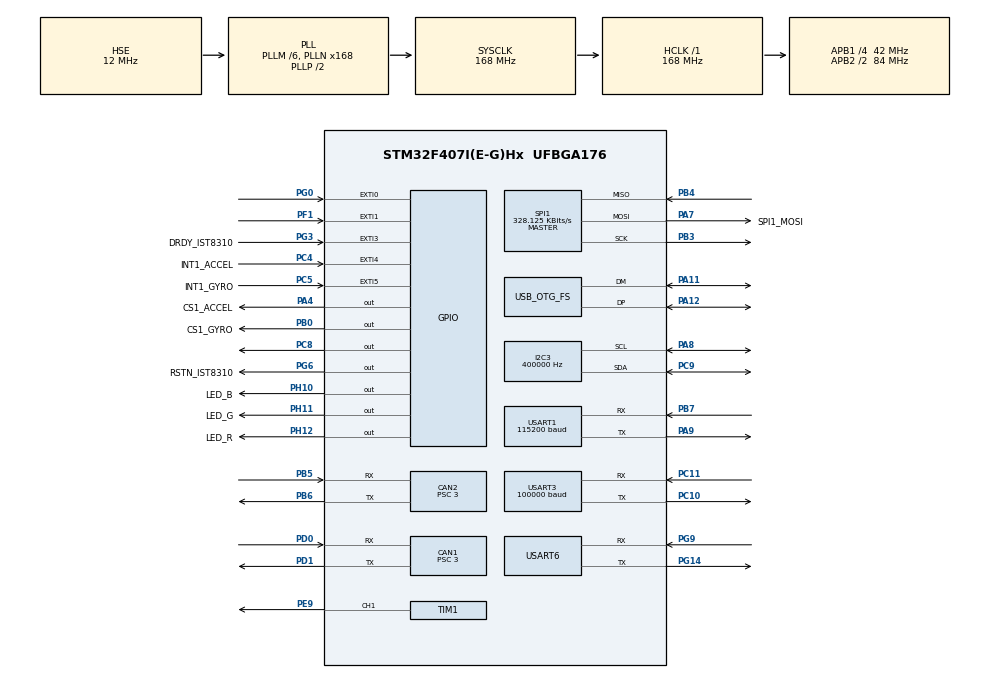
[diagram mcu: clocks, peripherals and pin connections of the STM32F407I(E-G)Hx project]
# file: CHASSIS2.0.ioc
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CAN1.ABOM=DISABLE
CAN1.AWUM=DISABLE
CAN1.BS1=CAN_BS1_10TQ
CAN1.BS2=CAN_BS2_3TQ
CAN1.CalculateBaudRate=1000000
CAN1.CalculateTimeBit=1000
CAN1.CalculateTimeQuantum=71.42857142857143
CAN1.Mode=CAN_MODE_NORMAL
CAN1.NART=DISABLE
CAN1.Prescaler=3
CAN1.RFLM=DISABLE
CAN1.SJW=CAN_SJW_1TQ
CAN1.TTCM=DISABLE
CAN1.TXFP=DISABLE
CAN2.ABOM=DISABLE
CAN2.AWUM=DISABLE
CAN2.BS1=CAN_BS1_10TQ
CAN2.BS2=CAN_BS2_3TQ
CAN2.CalculateBaudRate=1000000
CAN2.CalculateTimeBit=1000
CAN2.CalculateTimeQuantum=71.42857142857143
CAN2.Mode=CAN_MODE_NORMAL
CAN2.NART=DISABLE
CAN2.Prescaler=3
CAN2.RFLM=DISABLE
CAN2.SJW=CAN_SJW_1TQ
CAN2.TTCM=DISABLE
CAN2.TXFP=DISABLE
Dma.Request0=USART3_RX
Dma.Request1=SPI1_RX
Dma.Request2=SPI1_TX
Dma.Request3=USART1_RX
Dma.Request4=USART1_TX
Dma.Request5=USART6_RX
Dma.Request6=USART6_TX
Dma.SPI1_RX.1.Direction=DMA_PERIPH_TO_MEMORY
Dma.SPI1_RX.1.FIFOMode=DMA_FIFOMODE_DISABLE
Dma.SPI1_RX.1.Instance=DMA2_Stream2
Dma.SPI1_RX.1.MemDataAlignment=DMA_MDATAALIGN_BYTE
Dma.SPI1_RX.1.MemInc=DMA_MINC_ENABLE
Dma.SPI1_RX.1.Mode=DMA_NORMAL
Dma.SPI1_RX.1.PeriphDataAlignment=DMA_PDATAALIGN_BYTE
Dma.SPI1_RX.1.PeriphInc=DMA_PINC_DISABLE
Dma.SPI1_RX.1.Priority=DMA_PRIORITY_VERY_HIGH
Dma.SPI1_TX.2.Direction=DMA_MEMORY_TO_PERIPH
Dma.SPI1_TX.2.FIFOMode=DMA_FIFOMODE_DISABLE
Dma.SPI1_TX.2.Instance=DMA2_Stream3
Dma.SPI1_TX.2.MemDataAlignment=DMA_MDATAALIGN_BYTE
Dma.SPI1_TX.2.MemInc=DMA_MINC_ENABLE
Dma.SPI1_TX.2.Mode=DMA_NORMAL
Dma.SPI1_TX.2.PeriphDataAlignment=DMA_PDATAALIGN_BYTE
Dma.SPI1_TX.2.PeriphInc=DMA_PINC_DISABLE
Dma.SPI1_TX.2.Priority=DMA_PRIORITY_HIGH
Dma.USART1_RX.3.Direction=DMA_PERIPH_TO_MEMORY
Dma.USART1_RX.3.FIFOMode=DMA_FIFOMODE_DISABLE
Dma.USART1_RX.3.Instance=DMA2_Stream5
Dma.USART1_RX.3.MemDataAlignment=DMA_MDATAALIGN_BYTE
Dma.USART1_RX.3.MemInc=DMA_MINC_ENABLE
Dma.USART1_RX.3.Mode=DMA_NORMAL
Dma.USART1_RX.3.PeriphDataAlignment=DMA_PDATAALIGN_BYTE
Dma.USART1_RX.3.PeriphInc=DMA_PINC_DISABLE
Dma.USART1_RX.3.Priority=DMA_PRIORITY_LOW
Dma.USART1_TX.4.Direction=DMA_MEMORY_TO_PERIPH
Dma.USART1_TX.4.FIFOMode=DMA_FIFOMODE_DISABLE
Dma.USART1_TX.4.Instance=DMA2_Stream7
Dma.USART1_TX.4.MemDataAlignment=DMA_MDATAALIGN_BYTE
Dma.USART1_TX.4.MemInc=DMA_MINC_ENABLE
Dma.USART1_TX.4.Mode=DMA_CIRCULAR
Dma.USART1_TX.4.PeriphDataAlignment=DMA_PDATAALIGN_BYTE
Dma.USART1_TX.4.PeriphInc=DMA_PINC_DISABLE
Dma.USART1_TX.4.Priority=DMA_PRIORITY_LOW
Dma.USART3_RX.0.Direction=DMA_PERIPH_TO_MEMORY
Dma.USART3_RX.0.FIFOMode=DMA_FIFOMODE_DISABLE
Dma.USART3_RX.0.Instance=DMA1_Stream1
Dma.USART3_RX.0.MemDataAlignment=DMA_MDATAALIGN_BYTE
Dma.USART3_RX.0.MemInc=DMA_MINC_ENABLE
Dma.USART3_RX.0.Mode=DMA_CIRCULAR
Dma.USART3_RX.0.PeriphDataAlignment=DMA_PDATAALIGN_BYTE
Dma.USART3_RX.0.PeriphInc=DMA_PINC_DISABLE
Dma.USART3_RX.0.Priority=DMA_PRIORITY_VERY_HIGH
Dma.USART6_RX.5.Direction=DMA_PERIPH_TO_MEMORY
Dma.USART6_RX.5.FIFOMode=DMA_FIFOMODE_DISABLE
Dma.USART6_RX.5.Instance=DMA2_Stream1
Dma.USART6_RX.5.MemDataAlignment=DMA_MDATAALIGN_BYTE
Dma.USART6_RX.5.MemInc=DMA_MINC_ENABLE
Dma.USART6_RX.5.Mode=DMA_NORMAL
Dma.USART6_RX.5.PeriphDataAlignment=DMA_PDATAALIGN_BYTE
Dma.USART6_RX.5.PeriphInc=DMA_PINC_DISABLE
Dma.USART6_RX.5.Priority=DMA_PRIORITY_HIGH
Dma.USART6_TX.6.Direction=DMA_MEMORY_TO_PERIPH
Dma.USART6_TX.6.FIFOMode=DMA_FIFOMODE_DISABLE
Dma.USART6_TX.6.Instance=DMA2_Stream6
Dma.USART6_TX.6.MemDataAlignment=DMA_MDATAALIGN_BYTE
Dma.USART6_TX.6.MemInc=DMA_MINC_ENABLE
Dma.USART6_TX.6.Mode=DMA_NORMAL
Dma.USART6_TX.6.PeriphDataAlignment=DMA_PDATAALIGN_BYTE
Dma.USART6_TX.6.PeriphInc=DMA_PINC_DISABLE
Dma.USART6_TX.6.Priority=DMA_PRIORITY_MEDIUM
FREERTOS.HEAP_NUMBER=4
FREERTOS.INCLUDE_eTaskGetState=0
FREERTOS.INCLUDE_pcTaskGetTaskName=0
FREERTOS.INCLUDE_uxTaskGetStackHighWaterMark=0
FREERTOS.INCLUDE_uxTaskGetStackHighWaterMark2=0
FREERTOS.INCLUDE_uxTaskPriorityGet=1
FREERTOS.INCLUDE_vTaskCleanUpResources=0
FREERTOS.INCLUDE_vTaskDelay=1
FREERTOS.INCLUDE_vTaskDelayUntil=1
FREERTOS.INCLUDE_vTaskDelete=1
FREERTOS.INCLUDE_vTaskPrioritySet=1
FREERTOS.INCLUDE_vTaskSuspend=1
FREERTOS.INCLUDE_xEventGroupSetBitFromISR=0
FREERTOS.INCLUDE_xQueueGetMutexHolder=0
FREERTOS.INCLUDE_xSemaphoreGetMutexHolder=0
FREERTOS.INCLUDE_xTaskAbortDelay=0
FREERTOS.INCLUDE_xTaskGetCurrentTaskHandle=0
FREERTOS.INCLUDE_xTaskGetHandle=1
FREERTOS.INCLUDE_xTaskResumeFromISR=1
FREERTOS.MEMORY_ALLOCATION=2
FREERTOS.Tasks01=defaultTask,0,128,StartDefaultTask,Default,NULL,Dynamic,NULL,NULL;task_01,-3,128,Gimbal_task,As weak,NULL,Dynamic,NULL,NULL;myTask03,-3,128,Chassis_task,As weak,NULL,Dynamic,NULL,NULL;myTask04,-3,128,Shoot_task,As weak,NULL,Dynamic,NULL,NULL;myTask05,-3,128,UI_task,As weak,NULL,Dynamic,NULL,NULL
FREERTOS.configCHECK_FOR_STACK_OVERFLOW=0
FREERTOS.configENABLE_BACKWARD_COMPATIBILITY=1
FREERTOS.configENABLE_FPU=0
FREERTOS.configGENERATE_RUN_TIME_STATS=0
FREERTOS.configIDLE_SHOULD_YIELD=1
FREERTOS.configLIBRARY_LOWEST_INTERRUPT_PRIORITY=15
FREERTOS.configLIBRARY_MAX_SYSCALL_INTERRUPT_PRIORITY=5
FREERTOS.configMAX_CO_ROUTINE_PRIORITIES=2
FREERTOS.configMAX_PRIORITIES=7
FREERTOS.configMAX_TASK_NAME_LEN=16
FREERTOS.configMINIMAL_STACK_SIZE=128
FREERTOS.configQUEUE_REGISTRY_SIZE=8
FREERTOS.configRECORD_STACK_HIGH_ADDRESS=0
FREERTOS.configTICK_RATE_HZ=1000
FREERTOS.configTOTAL_HEAP_SIZE=15360
FREERTOS.configUSE_APPLICATION_TASK_TAG=0
FREERTOS.configUSE_COUNTING_SEMAPHORES=0
FREERTOS.configUSE_CO_ROUTINES=0
FREERTOS.configUSE_DAEMON_TASK_STARTUP_HOOK=0
FREERTOS.configUSE_IDLE_HOOK=0
FREERTOS.configUSE_MALLOC_FAILED_HOOK=0
FREERTOS.configUSE_MUTEXES=1
FREERTOS.configUSE_NEWLIB_REENTRANT=0
FREERTOS.configUSE_POSIX_ERRNO=0
FREERTOS.configUSE_PREEMPTION=1
FREERTOS.configUSE_RECURSIVE_MUTEXES=0
FREERTOS.configUSE_STATS_FORMATTING_FUNCTIONS=0
FREERTOS.configUSE_TASK_NOTIFICATIONS=1
FREERTOS.configUSE_TICKLESS_IDLE=0
FREERTOS.configUSE_TICK_HOOK=0
FREERTOS.configUSE_TIMERS=0
FREERTOS.configUSE_TRACE_FACILITY=0
FREERTOS.copyHeapFile=1
I2C3.AddressingMode=I2C_ADDRESSINGMODE_7BIT
I2C3.ClockSpeed=400000
I2C3.DualAddressMode=I2C_DUALADDRESS_DISABLE
I2C3.DutyCycle=I2C_DUTYCYCLE_2
I2C3.GeneralCallMode=I2C_GENERALCALL_DISABLE
I2C3.I2C_Mode=I2C_Fast
I2C3.NoStretchMode=I2C_NOSTRETCH_DISABLE
I2C3.OwnAddress=0
Mcu.Family=STM32F4
Mcu.Name=STM32F407I(E-G)Hx
Mcu.Package=UFBGA176
NVIC.CAN1_RX0_IRQn=true\:5\:0\:true\:false\:true\:true\:true\:true\:true
NVIC.CAN2_RX0_IRQn=true\:5\:0\:false\:false\:true\:true\:true\:true\:true
NVIC.DMA1_Stream1_IRQn=true\:5\:0\:true\:false\:true\:true\:false\:true\:true
NVIC.DMA2_Stream1_IRQn=true\:5\:0\:false\:false\:true\:true\:false\:true\:true
NVIC.DMA2_Stream2_IRQn=true\:5\:0\:true\:false\:true\:true\:false\:true\:true
NVIC.DMA2_Stream3_IRQn=true\:5\:0\:false\:false\:true\:true\:false\:true\:true
NVIC.DMA2_Stream5_IRQn=true\:5\:0\:false\:false\:true\:true\:false\:true\:true
NVIC.DMA2_Stream6_IRQn=true\:5\:0\:false\:false\:true\:true\:false\:true\:true
NVIC.DMA2_Stream7_IRQn=true\:5\:0\:false\:false\:true\:true\:false\:true\:true
NVIC.EXTI0_IRQn=true\:6\:0\:true\:false\:true\:true\:true\:true\:true
NVIC.EXTI1_IRQn=true\:5\:0\:true\:false\:true\:true\:true\:true\:true
NVIC.EXTI3_IRQn=true\:5\:0\:true\:false\:true\:true\:true\:true\:true
NVIC.EXTI4_IRQn=true\:5\:0\:true\:false\:true\:true\:true\:true\:true
NVIC.EXTI9_5_IRQn=true\:5\:0\:true\:false\:true\:true\:true\:true\:true
NVIC.OTG_FS_IRQn=true\:5\:0\:false\:false\:true\:true\:true\:true\:true
NVIC.PriorityGroup=NVIC_PRIORITYGROUP_4
NVIC.TIM1_UP_TIM10_IRQn=true\:5\:0\:false\:false\:true\:true\:true\:true\:true
NVIC.TIM4_IRQn=true\:5\:0\:false\:false\:true\:true\:true\:true\:true
NVIC.TIM6_DAC_IRQn=true\:15\:0\:false\:false\:true\:false\:false\:true\:true
NVIC.TIM8_UP_TIM13_IRQn=true\:5\:0\:false\:false\:true\:true\:true\:true\:true
NVIC.TimeBase=TIM6_DAC_IRQn
NVIC.TimeBaseIP=TIM6
NVIC.USART1_IRQn=true\:5\:0\:false\:false\:true\:true\:true\:true\:true
NVIC.USART3_IRQn=true\:5\:0\:true\:false\:true\:true\:true\:true\:true
NVIC.USART6_IRQn=true\:5\:0\:false\:false\:true\:true\:true\:true\:true
PA11.Mode=Device_Only
PA11.Signal=USB_OTG_FS_DM
PA12.Mode=Device_Only
PA12.Signal=USB_OTG_FS_DP
PA13.Mode=Serial_Wire
PA13.Signal=SYS_JTMS-SWDIO
PA14.Mode=Serial_Wire
PA14.Signal=SYS_JTCK-SWCLK
PA4.GPIO_Label=CS1_ACCEL
PA4.PinState=GPIO_PIN_SET
PA4.Signal=GPIO_Output
PA7.GPIO_Label=SPI1_MOSI
PA7.GPIO_PuPd=GPIO_PULLUP
PA7.Mode=Full_Duplex_Master
PA7.Signal=SPI1_MOSI
PA8.Mode=I2C
PA8.Signal=I2C3_SCL
PA9.Mode=Asynchronous
PA9.Signal=USART1_TX
PB0.GPIO_Label=CS1_GYRO
PB0.PinState=GPIO_PIN_SET
PB0.Signal=GPIO_Output
PB3.Mode=Full_Duplex_Master
PB3.Signal=SPI1_SCK
PB4.GPIO_PuPd=GPIO_PULLUP
PB4.Mode=Full_Duplex_Master
PB4.Signal=SPI1_MISO
PB5.Mode=CAN_Activate
PB5.Signal=CAN2_RX
PB6.Mode=CAN_Activate
PB6.Signal=CAN2_TX
PB7.Mode=Asynchronous
PB7.Signal=USART1_RX
PC10.Mode=Asynchronous
PC10.Signal=USART3_TX
PC11.Mode=Asynchronous
PC11.Signal=USART3_RX
PC4.GPIO_Label=INT1_ACCEL
PC4.GPIO_PuPd=GPIO_PULLUP
PC4.Signal=GPXTI4
PC5.GPIO_Label=INT1_GYRO
PC5.GPIO_PuPd=GPIO_PULLUP
PC5.Signal=GPXTI5
PC8.GPIO_PuPd=GPIO_PULLUP
PC8.Signal=GPIO_Output
PC9.Mode=I2C
PC9.Signal=I2C3_SDA
PD0.Mode=CAN_Activate
PD0.Signal=CAN1_RX
PD1.Mode=CAN_Activate
PD1.Signal=CAN1_TX
PE9.Signal=S_TIM1_CH1
PF1.Signal=GPXTI1
PF6.Signal=S_TIM10_CH1
PG0.Signal=GPXTI0
PG14.Mode=Asynchronous
PG14.Signal=USART6_TX
PG3.GPIO_Label=DRDY_IST8310
PG3.GPIO_PuPd=GPIO_PULLUP
PG3.Signal=GPXTI3
PG6.GPIO_Label=RSTN_IST8310
PG6.GPIO_PuPd=GPIO_PULLUP
PG6.GPIO_Speed=GPIO_SPEED_FREQ_MEDIUM
PG6.PinState=GPIO_PIN_SET
PG6.Signal=GPIO_Output
PG9.Mode=Asynchronous
PG9.Signal=USART6_RX
PH0-OSC_IN.Mode=HSE-External-Oscillator
PH0-OSC_IN.Signal=RCC_OSC_IN
PH1-OSC_OUT.Mode=HSE-External-Oscillator
PH1-OSC_OUT.Signal=RCC_OSC_OUT
PH10.GPIO_Label=LED_B
PH10.Signal=GPIO_Output
PH11.GPIO_Label=LED_G
PH11.Signal=GPIO_Output
PH12.GPIO_Label=LED_R
PH12.Signal=GPIO_Output
ProjectManager.HeapSize=0x200
ProjectManager.StackSize=0x400
ProjectManager.TargetToolchain=MDK-ARM V5.32
RCC.48MHZClocksFreq_Value=48000000
RCC.AHBFreq_Value=168000000
RCC.APB1CLKDivider=RCC_HCLK_DIV4
RCC.APB1Freq_Value=42000000
RCC.APB1TimFreq_Value=84000000
RCC.APB2CLKDivider=RCC_HCLK_DIV2
RCC.APB2Freq_Value=84000000
RCC.APB2TimFreq_Value=168000000
RCC.CortexFreq_Value=168000000
RCC.FLatency=FLASH_LATENCY_5
RCC.HCLKFreq_Value=168000000
RCC.HSE_VALUE=12000000
RCC.HSI_VALUE=16000000
RCC.LSE_VALUE=32768
RCC.PLLM=6
RCC.PLLN=168
RCC.PLLQ=7
RCC.SYSCLKFreq_VALUE=168000000
RCC.SYSCLKSource=RCC_SYSCLKSOURCE_PLLCLK
RCC.VCOOutputFreq_Value=336000000
SH.S_TIM10_CH1.0=TIM10_CH1
SH.S_TIM1_CH1.0=TIM1_CH1,PWM Generation1 CH1
SPI1.BaudRatePrescaler=SPI_BAUDRATEPRESCALER_256
SPI1.CLKPhase=SPI_PHASE_2EDGE
SPI1.CLKPolarity=SPI_POLARITY_HIGH
SPI1.CRCCalculation=SPI_CRCCALCULATION_DISABLE
SPI1.CalculateBaudRate=328.125 KBits/s
SPI1.DataSize=SPI_DATASIZE_8BIT
SPI1.Direction=SPI_DIRECTION_2LINES
SPI1.FirstBit=SPI_FIRSTBIT_MSB
SPI1.Mode=SPI_MODE_MASTER
SPI1.NSS=SPI_NSS_SOFT
SPI1.TIMode=SPI_TIMODE_DISABLE
SPI1.VirtualType=VM_MASTER
TIM1.AutoReloadPreload=TIM_AUTORELOAD_PRELOAD_ENABLE
TIM1.AutomaticOutput=TIM_AUTOMATICOUTPUT_DISABLE
TIM1.BreakPolarity=TIM_BREAKPOLARITY_HIGH
TIM1.BreakState=TIM_BREAK_DISABLE
TIM1.Channel-PWM\ Generation1\ CH1=TIM_CHANNEL_1
TIM1.ClockDivision=TIM_CLOCKDIVISION_DIV1
TIM1.CounterMode=TIM_COUNTERMODE_UP
TIM1.LockLevel=TIM_LOCKLEVEL_OFF
TIM1.OC1Preload_PWM=ENABLE
TIM1.OCFastMode_PWM-PWM\ Generation1\ CH1=TIM_OCFAST_DISABLE
TIM1.OCIdleState_1=TIM_OCIDLESTATE_RESET
TIM1.OCMode_PWM-PWM\ Generation1\ CH1=TIM_OCMODE_PWM1
TIM1.OCPolarity_1=TIM_OCPOLARITY_HIGH
TIM1.OffStateIDLEMode=TIM_OSSI_DISABLE
TIM1.OffStateRunMode=TIM_OSSR_DISABLE
TIM1.Period=499
TIM1.Prescaler=335
TIM1.Pulse-PWM\ Generation1\ CH1=0
TIM1.RepetitionCounter=0
TIM1.TIM_MasterOutputTrigger=TIM_TRGO_RESET
TIM1.TIM_MasterSlaveMode=TIM_MASTERSLAVEMODE_DISABLE
TIM10.AutoReloadPreload=TIM_AUTORELOAD_PRELOAD_DISABLE
TIM10.Channel=TIM_CHANNEL_1
TIM10.ClockDivision=TIM_CLOCKDIVISION_DIV1
TIM10.CounterMode=TIM_COUNTERMODE_UP
TIM10.OC1Preload_PWM=ENABLE
TIM10.OCFastMode_PWM=TIM_OCFAST_DISABLE
TIM10.OCMode_PWM=TIM_OCMODE_PWM1
TIM10.OCPolarity_1=TIM_OCPOLARITY_HIGH
TIM10.Period=4999
TIM10.Prescaler=0
TIM10.Pulse=0
TIM13.AutoReloadPreload=TIM_AUTORELOAD_PRELOAD_DISABLE
TIM13.ClockDivision=TIM_CLOCKDIVISION_DIV1
TIM13.CounterMode=TIM_COUNTERMODE_UP
TIM13.Period=10000-1
TIM13.Prescaler=8400-1
TIM4.Period=4999
TIM4.Prescaler=16799
USART1.BaudRate=115200
USART1.Mode=MODE_TX_RX
USART1.OverSampling=UART_OVERSAMPLING_16
USART1.Parity=PARITY_NONE
USART1.StopBits=STOPBITS_1
USART1.VirtualMode=VM_ASYNC
USART1.WordLength=WORDLENGTH_8B
USART3.BaudRate=100000
USART3.Mode=MODE_TX_RX
USART3.OverSampling=UART_OVERSAMPLING_16
USART3.Parity=PARITY_EVEN
USART3.StopBits=STOPBITS_1
USART3.VirtualMode=VM_ASYNC
USART3.WordLength=WORDLENGTH_8B
USART6.VirtualMode=VM_ASYNC
USB_OTG_FS.Sof_enable=DISABLE
USB_OTG_FS.VirtualMode=Device_Only
USB_OTG_FS.low_power_enable=DISABLE
USB_OTG_FS.lpm_enable=DISABLE
USB_OTG_FS.vbus_sensing_enable=DISABLE
VP_CRC_VS_CRC.Mode=CRC_Activate
VP_FREERTOS_VS_CMSIS_V1.Mode=CMSIS_V1
VP_SYS_VS_tim6.Mode=TIM6
VP_TIM10_VS_ClockSourceINT.Mode=Enable_Timer
VP_TIM13_VS_ClockSourceINT.Mode=Enable_Timer
VP_TIM1_VS_ClockSourceINT.Mode=Internal
VP_TIM4_VS_ClockSourceINT.Mode=Internal
board=custom

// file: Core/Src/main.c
/* USER CODE BEGIN Header */
/**
  ******************************************************************************
  * @file           : main.c
  * @brief          : Main program body
  ******************************************************************************
  * @attention
  *
  * Copyright (c) 2024 STMicroelectronics.
  * All rights reserved.
  *
  * This software is licensed under terms that can be found in the LICENSE file
  * in the root directory of this software component.
  * If no LICENSE file comes with this software, it is provided AS-IS.
  *
  ******************************************************************************
  */
/* USER CODE END Header */
#include "main.h"
#include "cmsis_os.h"
#include "can.h"
#include "crc.h"
#include "dma.h"
#include "i2c.h"
#include "spi.h"
#include "tim.h"
#include "usart.h"
#include "usb_otg.h"
#include "gpio.h"

/* USER CODE BEGIN Includes */
#include "bsp_can.h"
#include "Gimbal_Task.h"
#include "DM4310.h"
#include "remote_control.h"
#include "pid.h"
#include "motion.h"
#include "Filter.h"
#include "judge.h"
/* USER CODE END Includes */

/* USER CODE BEGIN PTD */
Motor_struct motor;
uint8_t data[18];
float IIR_LPF_ENSPEED[8] = {1.0f, 1.0f, 0.0f, 1.0f, -0.5095254f, 0.0f, 0.2452372f, 1.0f};
/* USER CODE END PTD */

void SystemClock_Config(void);
void MX_FREERTOS_Init(void);

int main(void)
{

  /* MCU Configuration--------------------------------------------------------*/

  /* Reset of all peripherals, Initializes the Flash interface and the Systick. */
  HAL_Init();

  /* USER CODE BEGIN Init */
  Wheel1_PID_Init(&motor.Motor[0]);
  Wheel2_PID_Init(&motor.Motor[1]);
  Wheel3_PID_Init(&motor.Motor[2]);
  Wheel4_PID_Init(&motor.Motor[3]);
  /* USER CODE END Init */

  /* Configure the system clock */
  SystemClock_Config();

  /* Initialize all configured peripherals */
  MX_GPIO_Init();
  MX_DMA_Init();
  MX_CAN1_Init();
  MX_USART3_UART_Init();
  MX_SPI1_Init();
  MX_TIM10_Init();
  MX_I2C3_Init();
  MX_CAN2_Init();
  MX_USART1_UART_Init();
  MX_TIM1_Init();
  MX_CRC_Init();
  MX_TIM13_Init();
  MX_USB_OTG_FS_PCD_Init();
  MX_TIM4_Init();
  MX_USART6_UART_Init();
  /* USER CODE BEGIN 2 */
  can_filter_init();
//  can_filter_init_recv_all(&hcan1);
//  can_filter_init_recv_all(&hcan2);
//  __HAL_CAN_ENABLE_IT(&hcan1, CAN_IT_RX_FIFO0_MSG_PENDING);
//  __HAL_CAN_ENABLE_IT(&hcan2, CAN_IT_RX_FIFO0_MSG_PENDING);
//  HAL_CAN_Start(&hcan1);
//  HAL_CAN_Start(&hcan2);
  remote_control_init();
  HAL_TIM_Base_Start_IT(&htim1);
  HAL_TIM_Base_Start_IT(&htim4);
  IIR_Init(IIR_LPF_ENSPEED, &ENSPEEDFilter);//滤波器
  fifo_s_init(&Referee_FIFO, Referee_FIFO_Buffer, REFEREE_FIFO_BUF_LENGTH);
  Referee_StructInit();
  Referee_UARTInit(Referee_Buffer[0], Referee_Buffer[1], REFEREE_USART_RX_BUF_LENGHT);
  /* USER CODE END 2 */
  /* Call init function for freertos objects (in cmsis_os2.c) */
  MX_FREERTOS_Init();

  /* Start scheduler */
  osKernelStart();

  /* We should never get here as control is now taken by the scheduler */

  /* Infinite loop */
  while (1)
  {

  }
}

void SystemClock_Config(void)
{
  RCC_OscInitTypeDef RCC_OscInitStruct = {0};
  RCC_ClkInitTypeDef RCC_ClkInitStruct = {0};

  /** Configure the main internal regulator output voltage
  */
  __HAL_RCC_PWR_CLK_ENABLE();
  __HAL_PWR_VOLTAGESCALING_CONFIG(PWR_REGULATOR_VOLTAGE_SCALE1);

  /** Initializes the RCC Oscillators according to the specified parameters
  * in the RCC_OscInitTypeDef structure.
  */
  RCC_OscInitStruct.OscillatorType = RCC_OSCILLATORTYPE_HSE;
  RCC_OscInitStruct.HSEState = RCC_HSE_ON;
  RCC_OscInitStruct.PLL.PLLState = RCC_PLL_ON;
  RCC_OscInitStruct.PLL.PLLSource = RCC_PLLSOURCE_HSE;
  RCC_OscInitStruct.PLL.PLLM = 6;
  RCC_OscInitStruct.PLL.PLLN = 168;
  RCC_OscInitStruct.PLL.PLLP = RCC_PLLP_DIV2;
  RCC_OscInitStruct.PLL.PLLQ = 7;
  if (HAL_RCC_OscConfig(&RCC_OscInitStruct) != HAL_OK)
  {
    Error_Handler();
  }

  /** Initializes the CPU, AHB and APB buses clocks
  */
  RCC_ClkInitStruct.ClockType = RCC_CLOCKTYPE_HCLK|RCC_CLOCKTYPE_SYSCLK
                              |RCC_CLOCKTYPE_PCLK1|RCC_CLOCKTYPE_PCLK2;
  RCC_ClkInitStruct.SYSCLKSource = RCC_SYSCLKSOURCE_PLLCLK;
  RCC_ClkInitStruct.AHBCLKDivider = RCC_SYSCLK_DIV1;
  RCC_ClkInitStruct.APB1CLKDivider = RCC_HCLK_DIV4;
  RCC_ClkInitStruct.APB2CLKDivider = RCC_HCLK_DIV2;

  if (HAL_RCC_ClockConfig(&RCC_ClkInitStruct, FLASH_LATENCY_5) != HAL_OK)
  {
    Error_Handler();
  }
}

void HAL_TIM_PeriodElapsedCallback(TIM_HandleTypeDef *htim)
{
  /* USER CODE BEGIN Callback 0 */
  if(htim->Instance == TIM1)
  {
	  Chassis_can_send();
	  set_yaw_angle(&hcan2, motor.Gimbal_Yaw.Apid.now);

	  if(rc_ctrl.misstimeout<10000)
		rc_ctrl.misstimeout ++ ;
  }
  if (htim->Instance == TIM4)
  {
	//频率计数
	Frequency_calc();
  }
  /* USER CODE END Callback 0 */
  if (htim->Instance == TIM6) {
    HAL_IncTick();
  }
}

void Error_Handler(void)
{
  __disable_irq();
  while (1)
  {
  }
}

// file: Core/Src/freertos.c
/* USER CODE BEGIN Header */
/**
  ******************************************************************************
  * File Name          : freertos.c
  * Description        : Code for freertos applications
  ******************************************************************************
  * @attention
  *
  * Copyright (c) 2024 STMicroelectronics.
  * All rights reserved.
  *
  * This software is licensed under terms that can be found in the LICENSE file
  * in the root directory of this software component.
  * If no LICENSE file comes with this software, it is provided AS-IS.
  *
  ******************************************************************************
  */
/* USER CODE END Header */

#include "FreeRTOS.h"
#include "task.h"
#include "main.h"
#include "cmsis_os.h"

osThreadId defaultTaskHandle;
osThreadId task_01Handle;
osThreadId myTask03Handle;
osThreadId myTask04Handle;
osThreadId myTask05Handle;

void StartDefaultTask(void const * argument);
void Gimbal_task(void const * argument);
void Chassis_task(void const * argument);
void Shoot_task(void const * argument);
void UI_task(void const * argument);

void MX_FREERTOS_Init(void); /* (MISRA C 2004 rule 8.1) */

/* GetIdleTaskMemory prototype (linked to static allocation support) */
void vApplicationGetIdleTaskMemory( StaticTask_t **ppxIdleTaskTCBBuffer, StackType_t **ppxIdleTaskStackBuffer, uint32_t *pulIdleTaskStackSize );

/* USER CODE BEGIN GET_IDLE_TASK_MEMORY */
static StaticTask_t xIdleTaskTCBBuffer;
static StackType_t xIdleStack[configMINIMAL_STACK_SIZE];

void vApplicationGetIdleTaskMemory( StaticTask_t **ppxIdleTaskTCBBuffer, StackType_t **ppxIdleTaskStackBuffer, uint32_t *pulIdleTaskStackSize )
{
  *ppxIdleTaskTCBBuffer = &xIdleTaskTCBBuffer;
  *ppxIdleTaskStackBuffer = &xIdleStack[0];
  *pulIdleTaskStackSize = configMINIMAL_STACK_SIZE;
  /* place for user code */
}
/* USER CODE END GET_IDLE_TASK_MEMORY */

void MX_FREERTOS_Init(void) {

  /* Create the thread(s) */
  /* definition and creation of defaultTask */
  osThreadDef(defaultTask, StartDefaultTask, osPriorityNormal, 0, 128);
  defaultTaskHandle = osThreadCreate(osThread(defaultTask), NULL);

  /* definition and creation of task_01 */
  osThreadDef(task_01, Gimbal_task, osPriorityIdle, 0, 128);
  task_01Handle = osThreadCreate(osThread(task_01), NULL);

  /* definition and creation of myTask03 */
  osThreadDef(myTask03, Chassis_task, osPriorityIdle, 0, 128);
  myTask03Handle = osThreadCreate(osThread(myTask03), NULL);

  /* definition and creation of myTask04 */
  osThreadDef(myTask04, Shoot_task, osPriorityIdle, 0, 128);
  myTask04Handle = osThreadCreate(osThread(myTask04), NULL);

  /* definition and creation of myTask05 */
  osThreadDef(myTask05, UI_task, osPriorityIdle, 0, 128);
  myTask05Handle = osThreadCreate(osThread(myTask05), NULL);

}

void StartDefaultTask(void const * argument)
{
  for(;;)
  {
    osDelay(1);
  }
}

__weak void Gimbal_task(void const * argument)
{
  for(;;)
  {
    osDelay(1);
  }
}

__weak void Chassis_task(void const * argument)
{
  for(;;)
  {
    osDelay(1);
  }
}

__weak void Shoot_task(void const * argument)
{
  for(;;)
  {
    osDelay(1);
  }
}

__weak void UI_task(void const * argument)
{
  for(;;)
  {
    osDelay(1);
  }
}
